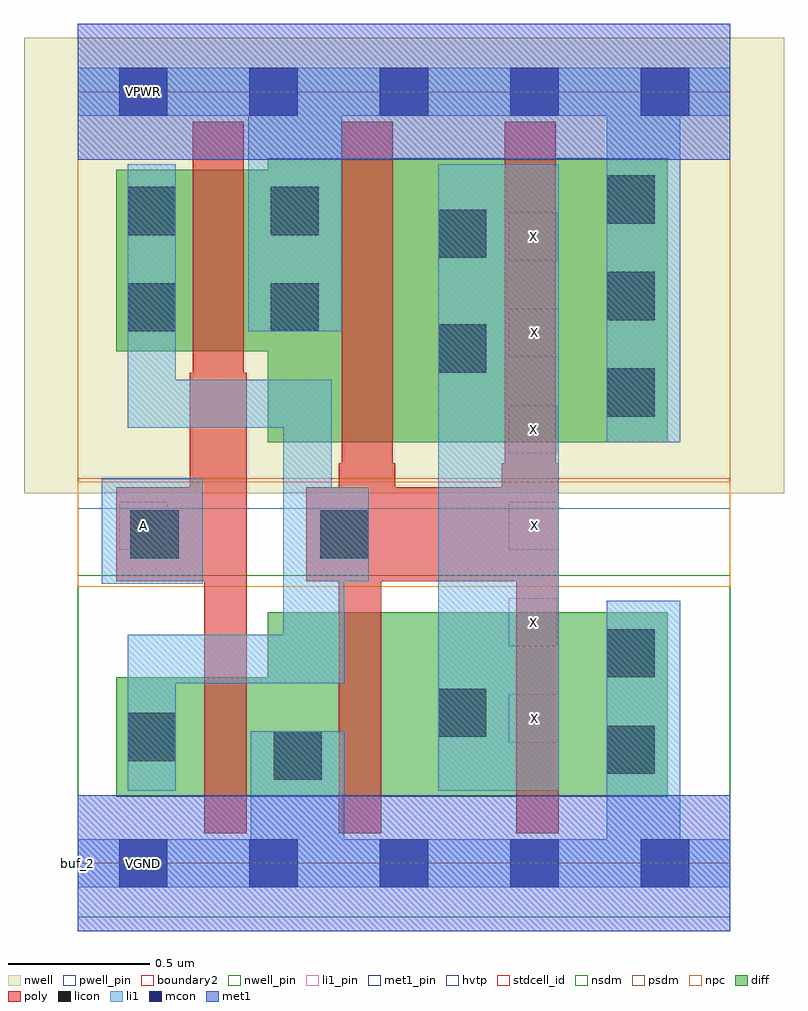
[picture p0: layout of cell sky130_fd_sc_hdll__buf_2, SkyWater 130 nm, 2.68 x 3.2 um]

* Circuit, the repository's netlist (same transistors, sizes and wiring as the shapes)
* Copyright 2020 The SkyWater PDK Authors
*
* Licensed under the Apache License, Version 2.0 (the "License");
* you may not use this file except in compliance with the License.
* You may obtain a copy of the License at
*
*     https://www.apache.org/licenses/LICENSE-2.0
*
* Unless required by applicable law or agreed to in writing, software
* distributed under the License is distributed on an "AS IS" BASIS,
* WITHOUT WARRANTIES OR CONDITIONS OF ANY KIND, either express or implied.
* See the License for the specific language governing permissions and
* limitations under the License.
*
* SPDX-License-Identifier: Apache-2.0

.SUBCKT sky130_fd_sc_hdll__buf_2 A VGND VNB VPB VPWR X
*.PININFO A:I VGND:I VNB:I VPB:I VPWR:I X:O
MMIN1 Ab A VGND VNB sky130_fd_pr__nfet_01v8 m=1 w=0.42U l=0.15U mult=1 sa=0.265
+ sb=0.265 sd=0.28 area=0.063 perim=1.14
MMIN2 X Ab VGND VNB sky130_fd_pr__nfet_01v8 m=2 w=0.65U l=0.15U mult=1 sa=0.265
+ sb=0.265 sd=0.28 area=0.063 perim=1.14
MMIP1 Ab A VPWR VPB sky130_fd_pr__pfet_01v8_hvt m=1 w=0.64U l=0.18U mult=1 sa=0.265
+ sb=0.265 sd=0.28 area=0.063 perim=1.14
MMIP2 X Ab VPWR VPB sky130_fd_pr__pfet_01v8_hvt m=2 w=1.0U l=0.18U mult=1 sa=0.265
+ sb=0.265 sd=0.28 area=0.063 perim=1.14
.ENDS sky130_fd_sc_hdll__buf_2

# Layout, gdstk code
import gdstk
lib = gdstk.Library(unit=1e-6, precision=1e-09)
def R(c, l, rs):  # rectangles x0, y0, x1, y1
    for r in rs: c.add(gdstk.rectangle(r[:2], r[2:], *l))
def A(c, l, x, y, w, h, nx, ny, dx, dy):  # array of equal rectangles
    R(c, l, [(x+i*dx, y+j*dy, x+i*dx+w, y+j*dy+h) for i in range(nx) for j in range(ny)])
def P(c, l, *ps):  # polygons
    for p in ps: c.add(gdstk.Polygon(p, *l))
nwell_pin = (64, 16)
nwell = (64, 20)
diff = (65, 20)
poly = (66, 20)
licon = (66, 44)
li1_pin = (67, 16)
li1 = (67, 20)
mcon = (67, 44)
met1_pin = (68, 16)
met1 = (68, 20)
hvtp = (78, 44)
stdcell_id = (81, 4)
nsdm = (93, 44)
psdm = (94, 20)
npc = (95, 20)
pwell_pin = (122, 16)
boundary2 = (236, 0)

sky130_fd_sc_hdll__buf_2 = lib.new_cell('sky130_fd_sc_hdll__buf_2')
R(sky130_fd_sc_hdll__buf_2, nwell_pin, [(0.145,2.635,0.315,2.805)])
R(sky130_fd_sc_hdll__buf_2, nwell, [(-0.19,1.305,2.49,2.91)])
P(sky130_fd_sc_hdll__buf_2, diff, [(2.08,2.485),(0.67,2.485),(0.67,2.445),(0.135,2.445),(0.135,1.805),(0.67,1.805),(0.67,1.485),(2.08,1.485)],
  [(2.08,0.885),(0.67,0.885),(0.67,0.655),(0.135,0.655),(0.135,0.235),(2.08,0.235)])
P(sky130_fd_sc_hdll__buf_2, poly, [(0.595,1.73),(0.585,1.73),(0.585,2.615),(0.405,2.615),(0.405,1.73),(0.395,1.73),(0.395,1.325),(0.135,1.325),(0.135,0.995),(0.445,0.995),(0.445,0.105),(0.595,0.105)],
  [(1.695,1.41),(1.685,1.41),(1.685,2.615),(1.505,2.615),(1.505,1.41),(1.495,1.41),(1.495,1.325),(1.12,1.325),(1.12,1.41),(1.11,1.41),(1.11,2.615),(0.93,2.615),(0.93,1.41),(0.92,1.41),(0.92,1.325),(0.805,1.325),(0.805,0.995),(0.92,0.995),(0.92,0.105),(1.07,0.105),(1.07,0.995),(1.545,0.995),(1.545,0.105),(1.695,0.105)])
A(sky130_fd_sc_hdll__buf_2, licon, 1.865, 1.575, 0.17, 0.17, 1, 3, 0, 0.34)
R(sky130_fd_sc_hdll__buf_2, licon, [(0.69,0.295,0.86,0.465), (1.865,0.315,2.035,0.485), (0.175,0.36,0.345,0.53), (1.27,0.445,1.44,0.615), (1.865,0.655,2.035,0.825), (0.185,1.075,0.355,1.245), (0.855,1.075,1.025,1.245), (1.27,1.73,1.44,1.9), (0.175,1.875,0.345,2.045), (0.68,1.875,0.85,2.045), (1.27,2.135,1.44,2.305), (0.175,2.215,0.345,2.385), (0.68,2.215,0.85,2.385)])
A(sky130_fd_sc_hdll__buf_2, li1_pin, 1.52, 0.425, 0.175, 0.17, 1, 3, 0, 0.68)
A(sky130_fd_sc_hdll__buf_2, li1_pin, 1.52, 0.765, 0.17, 0.17, 1, 3, 0, 0.68)
R(sky130_fd_sc_hdll__buf_2, li1_pin, [(0.145,-0.085,0.315,0.085), (0.145,1.105,0.315,1.275), (0.145,2.635,0.315,2.805)])
R(sky130_fd_sc_hdll__buf_2, li1, [(1.27,0.255,1.695,2.465), (0.085,0.985,0.44,1.355)])
P(sky130_fd_sc_hdll__buf_2, li1, [(1.025,1.325),(0.895,1.325),(0.895,1.705),(0.345,1.705),(0.345,2.465),(0.175,2.465),(0.175,1.535),(0.725,1.535),(0.725,0.805),(0.175,0.805),(0.175,0.255),(0.345,0.255),(0.345,0.635),(0.94,0.635),(0.94,0.995),(1.025,0.995)],
  [(2.3,2.805),(0,2.805),(0,2.635),(0.6,2.635),(0.6,1.875),(0.93,1.875),(0.93,2.635),(1.865,2.635),(1.865,1.485),(2.125,1.485),(2.125,2.635),(2.3,2.635)],
  [(2.3,0.085),(2.125,0.085),(2.125,0.925),(1.865,0.925),(1.865,0.085),(0.94,0.085),(0.94,0.465),(0.61,0.465),(0.61,0.085),(0,0.085),(0,-0.085),(2.3,-0.085)])
A(sky130_fd_sc_hdll__buf_2, mcon, 0.145, -0.085, 0.17, 0.17, 5, 2, 0.46, 2.72)
R(sky130_fd_sc_hdll__buf_2, met1_pin, [(0.145,-0.085,0.315,0.085), (0.145,2.635,0.315,2.805)])
R(sky130_fd_sc_hdll__buf_2, met1, [(0,-0.24,2.3,0.24), (0,2.48,2.3,2.96)])
R(sky130_fd_sc_hdll__buf_2, hvtp, [(0,1.25,2.3,2.72)])
R(sky130_fd_sc_hdll__buf_2, stdcell_id, [(0,0,2.3,2.72)])
R(sky130_fd_sc_hdll__buf_2, nsdm, [(0,-0.19,2.3,1.015)])
R(sky130_fd_sc_hdll__buf_2, psdm, [(0,1.355,2.3,2.91)])
R(sky130_fd_sc_hdll__buf_2, npc, [(0,0.975,2.3,1.345)])
R(sky130_fd_sc_hdll__buf_2, pwell_pin, [(0.145,-0.085,0.315,0.085)])
R(sky130_fd_sc_hdll__buf_2, boundary2, [(0,0,2.3,2.72)])
sky130_fd_sc_hdll__buf_2.add(gdstk.Label('VPWR', (0.23,2.72), layer=68, texttype=5))
sky130_fd_sc_hdll__buf_2.add(gdstk.Label('VGND', (0.23,0), layer=68, texttype=5))
sky130_fd_sc_hdll__buf_2.add(gdstk.Label('VPWR', (0.23,2.72), layer=67, texttype=5))
sky130_fd_sc_hdll__buf_2.add(gdstk.Label('VGND', (0.23,0), layer=67, texttype=5))
sky130_fd_sc_hdll__buf_2.add(gdstk.Label('X', (1.61,1.87), layer=67, texttype=5))
sky130_fd_sc_hdll__buf_2.add(gdstk.Label('X', (1.605,2.21), layer=67, texttype=5))
sky130_fd_sc_hdll__buf_2.add(gdstk.Label('A', (0.23,1.19), layer=67, texttype=5))
sky130_fd_sc_hdll__buf_2.add(gdstk.Label('X', (1.605,1.53), layer=67, texttype=5))
sky130_fd_sc_hdll__buf_2.add(gdstk.Label('X', (1.61,1.19), layer=67, texttype=5))
sky130_fd_sc_hdll__buf_2.add(gdstk.Label('X', (1.605,0.85), layer=67, texttype=5))
sky130_fd_sc_hdll__buf_2.add(gdstk.Label('X', (1.61,0.51), layer=67, texttype=5))
sky130_fd_sc_hdll__buf_2.add(gdstk.Label('VPB', (0.23,2.72), layer=64, texttype=5))
sky130_fd_sc_hdll__buf_2.add(gdstk.Label('VNB', (0.23,0), layer=64, texttype=59))
sky130_fd_sc_hdll__buf_2.add(gdstk.Label('buf_2', (0,0), layer=83, texttype=44))

lib.write_gds('sky130_fd_sc_hdll__buf_2.gds')
